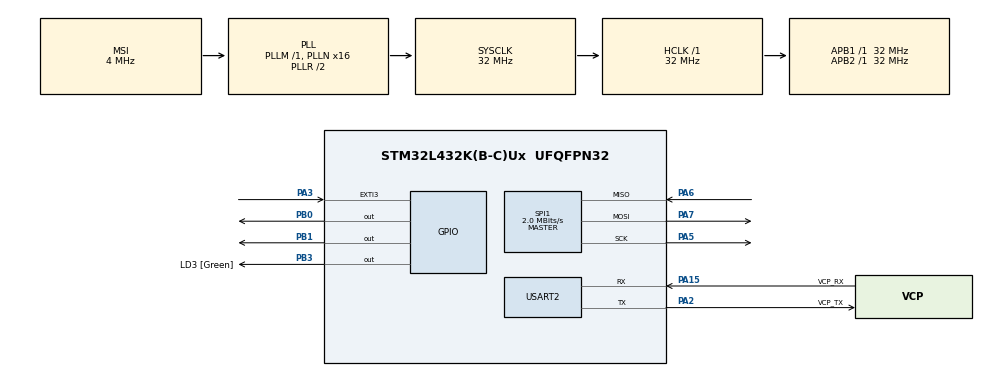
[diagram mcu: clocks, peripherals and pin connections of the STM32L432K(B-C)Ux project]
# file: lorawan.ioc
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Mcu.Family=STM32L4
Mcu.Name=STM32L432K(B-C)Ux
Mcu.Package=UFQFPN32
NVIC.PriorityGroup=NVIC_PRIORITYGROUP_4
PA0.GPIO_Label=MCO [High speed clock in]
PA0.Mode=HSE-External-Clock-Source-for-LittleOrca
PA0.Signal=RCC_CK_IN
PA13\ (JTMS-SWDIO).GPIO_Label=SWDIO
PA13\ (JTMS-SWDIO).Mode=Serial_Wire
PA13\ (JTMS-SWDIO).Signal=SYS_JTMS-SWDIO
PA14\ (JTCK-SWCLK).GPIO_Label=SWCLK
PA14\ (JTCK-SWCLK).Mode=Serial_Wire
PA14\ (JTCK-SWCLK).Signal=SYS_JTCK-SWCLK
PA15\ (JTDI).GPIO_Label=VCP_RX
PA15\ (JTDI).Mode=Asynchronous
PA15\ (JTDI).Signal=USART2_RX
PA2.GPIO_Label=VCP_TX
PA2.Mode=Asynchronous
PA2.Signal=USART2_TX
PA3.Signal=GPXTI3
PA5.Mode=Full_Duplex_Master
PA5.Signal=SPI1_SCK
PA6.Mode=Full_Duplex_Master
PA6.Signal=SPI1_MISO
PA7.Mode=Full_Duplex_Master
PA7.Signal=SPI1_MOSI
PB0.Signal=GPIO_Output
PB1.Signal=GPIO_Output
PB3\ (JTDO-TRACESWO).GPIO_Label=LD3 [Green]
PB3\ (JTDO-TRACESWO).Signal=GPIO_Output
PC14-OSC32_IN\ (PC14).Mode=LSE-External-Oscillator
PC14-OSC32_IN\ (PC14).Signal=RCC_OSC32_IN
PC15-OSC32_OUT\ (PC15).Mode=LSE-External-Oscillator
PC15-OSC32_OUT\ (PC15).Signal=RCC_OSC32_OUT
ProjectManager.HeapSize=0x200
ProjectManager.StackSize=0x400
ProjectManager.TargetToolchain=STM32CubeIDE
RCC.AHBFreq_Value=32000000
RCC.APB1Freq_Value=32000000
RCC.APB1TimFreq_Value=32000000
RCC.APB2Freq_Value=32000000
RCC.APB2TimFreq_Value=32000000
RCC.CortexFreq_Value=32000000
RCC.HCLKFreq_Value=32000000
RCC.HSE_VALUE=8000000
RCC.HSI16_VALUE=16000000
RCC.HSI48_VALUE=48000000
RCC.HSI_VALUE=16000000
RCC.MSI_VALUE=4000000
RCC.PLLMUL=RCC_PLLMUL_4
RCC.PLLN=16
RCC.SYSCLKFreq_VALUE=32000000
RCC.SYSCLKSource=RCC_SYSCLKSOURCE_PLLCLK
RCC.VCOOutputFreq_Value=64000000
SPI1.BaudRatePrescaler=SPI_BAUDRATEPRESCALER_16
SPI1.CalculateBaudRate=2.0 MBits/s
SPI1.DataSize=SPI_DATASIZE_8BIT
SPI1.Direction=SPI_DIRECTION_2LINES
SPI1.Mode=SPI_MODE_MASTER
SPI1.VirtualType=VM_MASTER
USART2.VirtualMode-Asynchronous=VM_ASYNC
board=NUCLEO-L432KC

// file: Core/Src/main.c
/* USER CODE BEGIN Header */
/**
  ******************************************************************************
  * @file           : main.c
  * @brief          : Main program body
  ******************************************************************************
  * @attention
  *
  * Copyright (c) 2024 STMicroelectronics.
  * All rights reserved.
  *
  * This software is licensed under terms that can be found in the LICENSE file
  * in the root directory of this software component.
  * If no LICENSE file comes with this software, it is provided AS-IS.
  *
  ******************************************************************************
  */
/* USER CODE END Header */
#include "main.h"

/* USER CODE BEGIN Includes */

#include "sx1276.h"
#include "polkadot.h"
#include "pk.h"
#include "packet_formats.h"
#include <stdlib.h>
#include <stdio.h>
#include <string.h>

/* USER CODE END Includes */

/* USER CODE BEGIN PD */

#define PI_NODE 	0
#define DATA_REQ 	55

/* USER CODE END PD */

SPI_HandleTypeDef hspi1;

UART_HandleTypeDef huart2;

/* USER CODE BEGIN PV */

uint8_t data[16] = "hello world!\r\n";			//USART Transmit Buffer
uint8_t cmd_rx_buf[16];				//receive buffer for mesh commands from Pi
uint8_t cmd_tx_buf[16];
volatile uint8_t tx_len = 5;

volatile unsigned char xdone_flag = 0;
volatile unsigned char rx_flag = 0;
volatile unsigned char spi_flag = 0;
volatile unsigned char spi_rx_tx = 0;

/* USER CODE END PV */

void SystemClock_Config(void);
static void MX_GPIO_Init(void);
static void MX_USART2_UART_Init(void);
static void MX_SPI1_Init(void);
/* USER CODE BEGIN PFP */

//prototypes for functions used directly in main
uint8_t spi_transfer(uint8_t data[], uint8_t len);
uint16_t readTemp();

/* USER CODE END PFP */

int main(void)
{

  /* MCU Configuration--------------------------------------------------------*/

  /* Reset of all peripherals, Initializes the Flash interface and the Systick. */
  HAL_Init();

  /* Configure the system clock */
  SystemClock_Config();

  /* Initialize all configured peripherals */
  MX_GPIO_Init();
  MX_USART2_UART_Init();
  MX_SPI1_Init();
  /* USER CODE BEGIN 2 */

  // Reset Lora Module
  HAL_GPIO_WritePin(GPIOB, GPIO_PIN_0, GPIO_PIN_RESET);  //activate CS
  HAL_Delay(10);
  HAL_GPIO_WritePin(GPIOB, GPIO_PIN_0, GPIO_PIN_SET);  //deactivate CS
  HAL_Delay(10);

  SX1276_Init(SYNC_WORD, 24);  //Initialize the SX1276

  if(PI_NODE){
  	  polkadot_init(4); //the hard-coded address of the Pi Node is 4
    } else {
  	  uint32_t unique_seed = get_UID();	//initialize with a random ID
  	  DEBUG_PRINT("device id: %d\r\n", unique_seed);
  	  srand(unique_seed);
  	  uint32_t new_id;
  	  new_id = rand();
  	  while(new_id < 11){
  		  new_id = rand();
  	  }
  	  DEBUG_PRINT("New ID: %d\r\n", new_id);
  	  polkadot_init(new_id);
  	  rand_delay();
  	  mesh_send_hello();
    }

  SX1276_Start_Receive();

  /* USER CODE END 2 */

  /* Infinite loop */
  /* USER CODE BEGIN WHILE */
  while (1)
  {
	  if(xdone_flag)
	  {
		  xdone_flag = 0;
		  if(rx_flag)
		  {
			  uint8_t len = SX1276_Read_Register(REG_RX_NB_BYTES); //get packet length
	 		  uint8_t rxbuf[len];
	 		  SX1276_Read_Burst(REG_FIFO, rxbuf, len);
	 		  SX1276_Set_Mode(STDBY);
	 		  DEBUG_PRINT("Entering Packet Handler\r\n");
	 		  receive_packet_handler(rxbuf, len);
	 		  SX1276_Start_Receive();
		  }
	  }
    /* USER CODE END WHILE */

  }
}

void SystemClock_Config(void)
{
  RCC_OscInitTypeDef RCC_OscInitStruct = {0};
  RCC_ClkInitTypeDef RCC_ClkInitStruct = {0};

  /** Configure the main internal regulator output voltage
  */
  if (HAL_PWREx_ControlVoltageScaling(PWR_REGULATOR_VOLTAGE_SCALE1) != HAL_OK)
  {
    Error_Handler();
  }

  /** Configure LSE Drive Capability
  */
  HAL_PWR_EnableBkUpAccess();
  __HAL_RCC_LSEDRIVE_CONFIG(RCC_LSEDRIVE_LOW);

  /** Initializes the RCC Oscillators according to the specified parameters
  * in the RCC_OscInitTypeDef structure.
  */
  RCC_OscInitStruct.OscillatorType = RCC_OSCILLATORTYPE_LSE|RCC_OSCILLATORTYPE_MSI;
  RCC_OscInitStruct.LSEState = RCC_LSE_ON;
  RCC_OscInitStruct.MSIState = RCC_MSI_ON;
  RCC_OscInitStruct.MSICalibrationValue = 0;
  RCC_OscInitStruct.MSIClockRange = RCC_MSIRANGE_6;
  RCC_OscInitStruct.PLL.PLLState = RCC_PLL_ON;
  RCC_OscInitStruct.PLL.PLLSource = RCC_PLLSOURCE_MSI;
  RCC_OscInitStruct.PLL.PLLM = 1;
  RCC_OscInitStruct.PLL.PLLN = 16;
  RCC_OscInitStruct.PLL.PLLP = RCC_PLLP_DIV7;
  RCC_OscInitStruct.PLL.PLLQ = RCC_PLLQ_DIV2;
  RCC_OscInitStruct.PLL.PLLR = RCC_PLLR_DIV2;
  if (HAL_RCC_OscConfig(&RCC_OscInitStruct) != HAL_OK)
  {
    Error_Handler();
  }

  /** Initializes the CPU, AHB and APB buses clocks
  */
  RCC_ClkInitStruct.ClockType = RCC_CLOCKTYPE_HCLK|RCC_CLOCKTYPE_SYSCLK
                              |RCC_CLOCKTYPE_PCLK1|RCC_CLOCKTYPE_PCLK2;
  RCC_ClkInitStruct.SYSCLKSource = RCC_SYSCLKSOURCE_PLLCLK;
  RCC_ClkInitStruct.AHBCLKDivider = RCC_SYSCLK_DIV1;
  RCC_ClkInitStruct.APB1CLKDivider = RCC_HCLK_DIV1;
  RCC_ClkInitStruct.APB2CLKDivider = RCC_HCLK_DIV1;

  if (HAL_RCC_ClockConfig(&RCC_ClkInitStruct, FLASH_LATENCY_1) != HAL_OK)
  {
    Error_Handler();
  }

  /** Enable MSI Auto calibration
  */
  HAL_RCCEx_EnableMSIPLLMode();
}

static void MX_SPI1_Init(void)
{

  /* SPI1 parameter configuration*/
  hspi1.Instance = SPI1;
  hspi1.Init.Mode = SPI_MODE_MASTER;
  hspi1.Init.Direction = SPI_DIRECTION_2LINES;
  hspi1.Init.DataSize = SPI_DATASIZE_8BIT;
  hspi1.Init.CLKPolarity = SPI_POLARITY_LOW;
  hspi1.Init.CLKPhase = SPI_PHASE_1EDGE;
  hspi1.Init.NSS = SPI_NSS_SOFT;
  hspi1.Init.BaudRatePrescaler = SPI_BAUDRATEPRESCALER_16;
  hspi1.Init.FirstBit = SPI_FIRSTBIT_MSB;
  hspi1.Init.TIMode = SPI_TIMODE_DISABLE;
  hspi1.Init.CRCCalculation = SPI_CRCCALCULATION_DISABLE;
  hspi1.Init.CRCPolynomial = 7;
  hspi1.Init.CRCLength = SPI_CRC_LENGTH_DATASIZE;
  hspi1.Init.NSSPMode = SPI_NSS_PULSE_ENABLE;
  if (HAL_SPI_Init(&hspi1) != HAL_OK)
  {
    Error_Handler();
  }

}

static void MX_USART2_UART_Init(void)
{

  huart2.Instance = USART2;
  huart2.Init.BaudRate = 115200;
  huart2.Init.WordLength = UART_WORDLENGTH_8B;
  huart2.Init.StopBits = UART_STOPBITS_1;
  huart2.Init.Parity = UART_PARITY_NONE;
  huart2.Init.Mode = UART_MODE_TX_RX;
  huart2.Init.HwFlowCtl = UART_HWCONTROL_NONE;
  huart2.Init.OverSampling = UART_OVERSAMPLING_16;
  huart2.Init.OneBitSampling = UART_ONE_BIT_SAMPLE_DISABLE;
  huart2.AdvancedInit.AdvFeatureInit = UART_ADVFEATURE_NO_INIT;
  if (HAL_UART_Init(&huart2) != HAL_OK)
  {
    Error_Handler();
  }

}

static void MX_GPIO_Init(void)
{
  GPIO_InitTypeDef GPIO_InitStruct = {0};

  /* GPIO Ports Clock Enable */
  __HAL_RCC_GPIOC_CLK_ENABLE();
  __HAL_RCC_GPIOA_CLK_ENABLE();
  __HAL_RCC_GPIOB_CLK_ENABLE();

  /*Configure GPIO pin Output Level */
  HAL_GPIO_WritePin(GPIOB, GPIO_PIN_0|GPIO_PIN_1|LD3_Pin, GPIO_PIN_RESET);

  /*Configure GPIO pin : PA3 */
  GPIO_InitStruct.Pin = GPIO_PIN_3;
  GPIO_InitStruct.Mode = GPIO_MODE_IT_RISING;
  GPIO_InitStruct.Pull = GPIO_NOPULL;
  HAL_GPIO_Init(GPIOA, &GPIO_InitStruct);

  /*Configure GPIO pins : PB0 PB1 LD3_Pin */
  GPIO_InitStruct.Pin = GPIO_PIN_0|GPIO_PIN_1|LD3_Pin;
  GPIO_InitStruct.Mode = GPIO_MODE_OUTPUT_PP;
  GPIO_InitStruct.Pull = GPIO_NOPULL;
  GPIO_InitStruct.Speed = GPIO_SPEED_FREQ_LOW;
  HAL_GPIO_Init(GPIOB, &GPIO_InitStruct);

}

/* USER CODE BEGIN 4 */
void HAL_GPIO_EXTI_Callback(uint16_t GPIO_Pin)
{
	if(GPIO_Pin == GPIO_PIN_3)
	{
		xdone_flag = 1;
	}

	if(GPIO_Pin == GPIO_PIN_0 && PI_NODE)
	{
		HAL_SPI_TransmitReceive(&hspi1, cmd_tx_buf, cmd_rx_buf, tx_len, 1000);
		while (HAL_SPI_GetState(&hspi1) != HAL_SPI_STATE_READY){}
	}
	if(!spi_rx_tx && PI_NODE){ //!HAL_GPIO_ReadPin(SPI2_AS_GPIO_Port, SPI2_AS_Pin) && PI_NODE){		//wait for AS pin
				spi_flag = 0;
				DEBUG_PRINT("Received command:");
				printarr(cmd_rx_buf, 5);
				DEBUG_PRINT("\r\n");
				if(cmd_rx_buf[0] == DATA_REQ){
					uint32_t node_addr = cmd_rx_buf[1] << 24 | cmd_rx_buf[2] << 16 | cmd_rx_buf[3] << 8 | cmd_rx_buf[4];
					uint8_t data_req_arr[1] = {DATA_REQ};
					DEBUG_PRINT("Requesting data from node #%d\r\n", node_addr);
					mesh_transmit(node_addr, data_req_arr, 1);
				  }
			SX1276_Start_Receive();
		}
}

	//read the temperature sensor for the STM32
	uint16_t readTemp()
	{
	DEBUG_PRINT("\tReading Temperature\r\n");
	uint16_t value = 30;
	return value;}

	//handshaking protocol for communicating with the raspberry pi
	uint8_t spi_transfer(uint8_t data[], uint8_t length){
		DEBUG_PRINT("transferring data to the Pi over SPI\r\n");
		spi_rx_tx = 1;
		for(int i = 0; i < length; i ++){
			cmd_tx_buf[i] = data[i];
		}
		tx_len = length;
		HAL_GPIO_WritePin(GPIOA, GPIO_PIN_8, GPIO_PIN_SET);
	    while (!spi_flag){
	    }
	    HAL_GPIO_WritePin(GPIOA, GPIO_PIN_8, GPIO_PIN_RESET);
	    HAL_SPI_Transmit(&hspi1, data, length,100);
	    HAL_Delay(50);
	    spi_rx_tx = 0;
	    tx_len = 5;
	    return SUCCESS;
	}

	//FUNCTION FOR DOING STUFF WITH DATA
	uint8_t DATA_RX_HANDLER(struct data_packet rx_pkt){
		//Print the received data to the console
		DEBUG_PRINT("Received Data: ");
		DEBUG_PRINT((char *) rx_pkt.packet_data);
		DEBUG_PRINT("\n\r");
		if(PI_NODE){
			uint8_t spi_data[6];
			spi_data[0] = rx_pkt.packet_data[0];
			spi_data[1] = rx_pkt.packet_data[1];
			spi_data[2] = (rx_pkt.source_id & 0xFF);
			spi_data[3] = (rx_pkt.source_id >> 8) & 0xFF;
			spi_data[4] = (rx_pkt.source_id >> 16) & 0xFF;
			spi_data[5] = (rx_pkt.source_id >> 24) & 0xFF;
			spi_transfer(spi_data, 6);
			SX1276_Start_Receive();
		} else {
			if(rx_pkt.packet_data[0] == DATA_REQ){		//reply with my temperature if that was a data request
				uint16_t mytemp = readTemp();
				uint8_t temppack[2] = {(mytemp & 0xFF), (mytemp >> 8)};
				mesh_transmit(4, temppack, 2);
			}
		}
		return SUCCESS;
	}

/* USER CODE END 4 */

void Error_Handler(void)
{
  __disable_irq();
  while (1)
  {
  }
}
